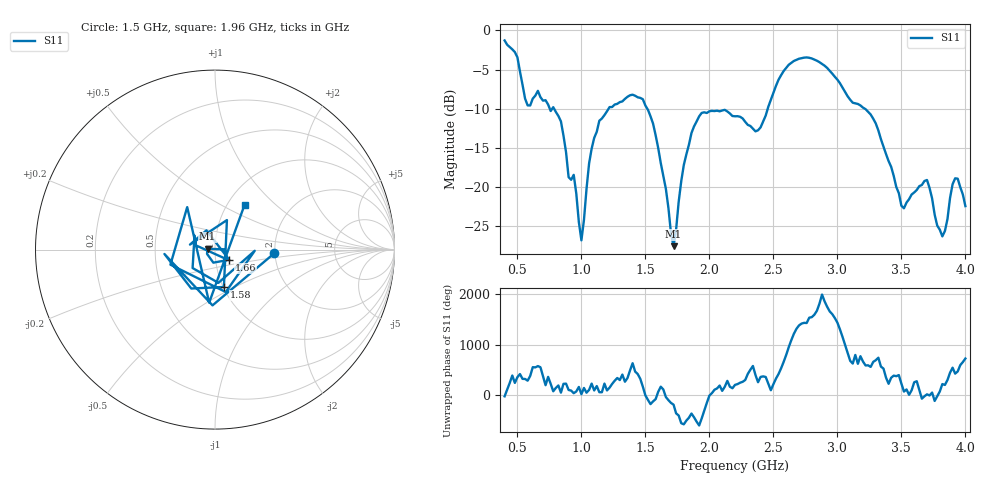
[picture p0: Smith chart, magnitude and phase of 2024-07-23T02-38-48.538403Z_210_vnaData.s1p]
!Created with skrf (http://scikit-rf.org).
# Hz S RI R 50.0
!freq ReS11 ImS11
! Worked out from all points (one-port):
!   181 points, 400 MHz to 4 GHz, reference 50 ohm
!   lowest |S11| = -27.6 dB at 1.72 GHz (marker M1), VSWR 1.09, Z = 46 + j0.407 ohm
!   |S11| at or under -10 dB: 786.7 MHz to 1.212 GHz (425.3 MHz wide, 42.6 % of centre); 1.515 GHz to 2.456 GHz (940.8 MHz wide, 47.4 % of centre); 3.215 GHz to end of sweep (the widest 3 of 4)
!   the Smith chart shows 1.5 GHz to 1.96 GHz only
!   S11 on the Smith chart (normalised r, x): 1.5 GHz: 1.99, -0.09; 1.58 GHz: 1.01, -0.44; 1.66 GHz: 1.16, -0.13; 1.96 GHz: 1.20, +0.66
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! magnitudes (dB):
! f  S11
! 400 MHz  -1.3
! 500 MHz  -3.4
! 580 MHz  -9.6
! 660 MHz  -7.7
! 860 MHz  -13.4
! 900 MHz  -18.7
! 940 MHz  -18.4
! 1 GHz  -26.8
! 1.1 GHz  -13.7
! 1.3 GHz  -9.2
! 1.5 GHz  -9.6
! 1.58 GHz  -13.4
! 1.66 GHz  -20.2
! 1.72 GHz  -27.6
! 1.76 GHz  -21.9
! 1.86 GHz  -13.1
! 1.96 GHz  -10.5
! 2.2 GHz  -11.0
! 2.38 GHz  -12.8
! 2.66 GHz  -3.9
! 3.1 GHz  -8.9
! 3.28 GHz  -11.3
! 3.5 GHz  -22.4
! 3.56 GHz  -21.6
! 3.7 GHz  -19.1
! 3.82 GHz  -26.3
! 3.92 GHz  -18.9
! 4 GHz  -22.4
